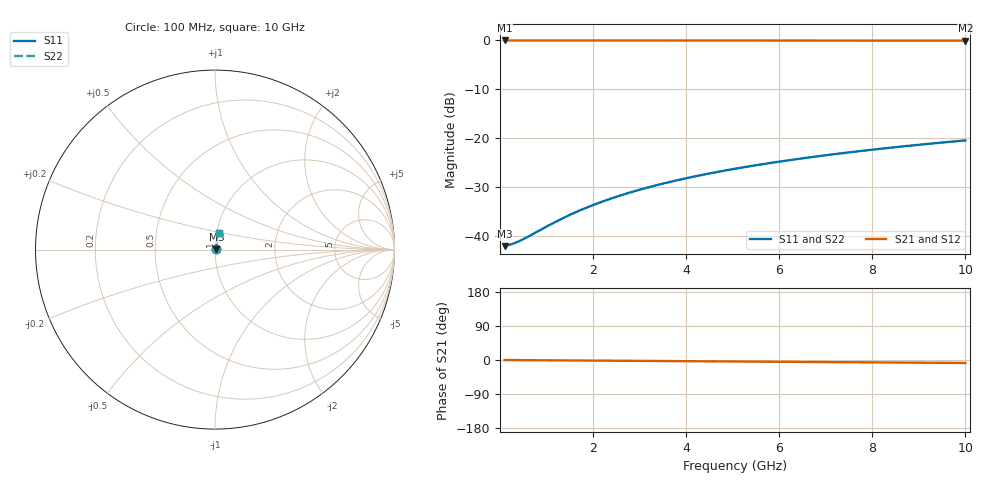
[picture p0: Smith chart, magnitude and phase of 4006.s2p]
# Hz S RI R 50.00
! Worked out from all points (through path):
!   100 points, 100 MHz to 10 GHz, reference 50 ohm
!   highest |S21| = -0.07 dB at 100 MHz (marker M1); lowest = -0.1 dB at 10 GHz (marker M2)
!   group delay of S21, straight-line fit = 2.18 ps
!   lowest |S11| = -42.2 dB at 100 MHz (marker M3), VSWR 1.02, Z = 50.8 + j0.0947 ohm
!   |S11| at or under -10 dB: start of sweep to end of sweep
!   |S22| runs from -42.2 to -20.5 dB; largest |S21 - S12| = 0
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1e8  0.00772 0.000932  0.9923 -0.00136  0.9923 -0.00136  0.00772 0.000932
2e8  0.00778 0.00186  0.9922 -0.00272  0.9922 -0.00272  0.00778 0.00186
3e8  0.00782 0.0028  0.9922 -0.00408  0.9922 -0.00408  0.00782 0.0028
4e8  0.00786 0.00373  0.9921 -0.00544  0.9921 -0.00544  0.00786 0.00373
6e8  0.00793 0.00559  0.9921 -0.00816  0.9921 -0.00816  0.00793 0.00559
1e9  0.00809 0.00932  0.9919 -0.0136  0.9919 -0.0136  0.00809 0.00932
1.3e9  0.00822 0.0121  0.9918 -0.0177  0.9918 -0.0177  0.00822 0.0121
1.5e9  0.00831 0.014  0.9917 -0.0204  0.9917 -0.0204  0.00831 0.014
1.8e9  0.00847 0.0168  0.9915 -0.0245  0.9915 -0.0245  0.00847 0.0168
2.1e9  0.00865 0.0195  0.9913 -0.0285  0.9913 -0.0285  0.00865 0.0195
2.5e9  0.00892 0.0233  0.991 -0.034  0.991 -0.034  0.00892 0.0233
2.9e9  0.00923 0.027  0.9907 -0.0394  0.9907 -0.0394  0.00923 0.027
3.4e9  0.00967 0.0316  0.9902 -0.0462  0.9902 -0.0462  0.00967 0.0316
3.8e9  0.0101 0.0353  0.9898 -0.0516  0.9898 -0.0516  0.0101 0.0353
4.2e9  0.0105 0.039  0.9893 -0.057  0.9893 -0.057  0.0105 0.039
4.6e9  0.011 0.0427  0.9888 -0.0624  0.9888 -0.0624  0.011 0.0427
5.1e9  0.0116 0.0473  0.9881 -0.0691  0.9881 -0.0691  0.0116 0.0473
5.9e9  0.0128 0.0546  0.9869 -0.0799  0.9869 -0.0799  0.0128 0.0546
6.7e9  0.0141 0.0619  0.9855 -0.0906  0.9855 -0.0906  0.0141 0.0619
7.5e9  0.0156 0.0692  0.9839 -0.1013  0.9839 -0.1013  0.0156 0.0692
8.4e9  0.0174 0.0774  0.9819 -0.1133  0.9819 -0.1133  0.0174 0.0774
1e10  0.0212 0.0917  0.9778 -0.1345  0.9778 -0.1345  0.0212 0.0917
